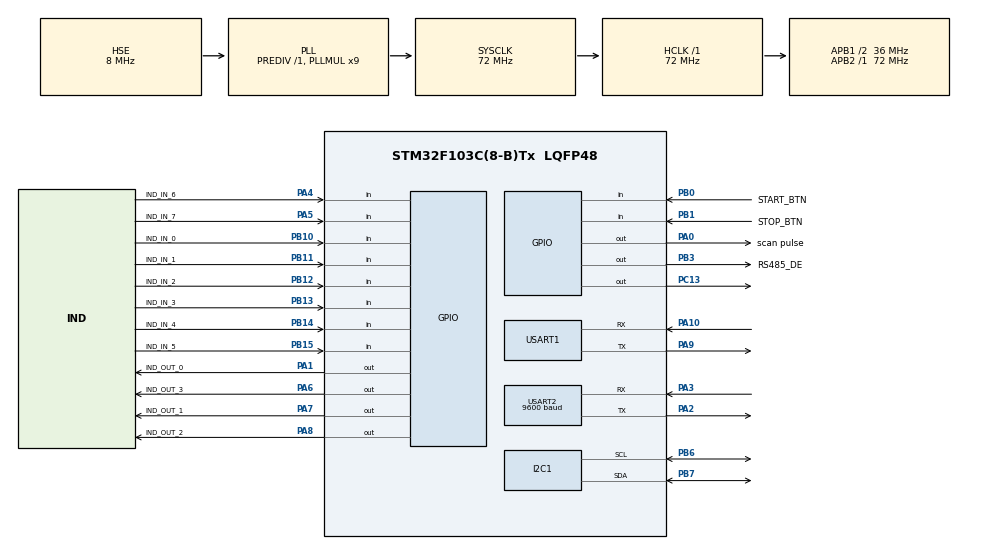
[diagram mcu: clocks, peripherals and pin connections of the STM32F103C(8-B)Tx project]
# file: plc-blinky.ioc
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I2C1.I2C_Mode=I2C_Standard
Mcu.Family=STM32F1
Mcu.Name=STM32F103C(8-B)Tx
Mcu.Package=LQFP48
NVIC.PriorityGroup=NVIC_PRIORITYGROUP_4
NVIC.TIM2_IRQn=true\:0\:0\:false\:false\:true\:true\:true\:true
NVIC.USART1_IRQn=true\:0\:0\:false\:false\:true\:true\:true\:true
NVIC.USART2_IRQn=true\:0\:0\:false\:false\:true\:true\:true\:true
PA0-WKUP.GPIO_Label=scan pulse
PA0-WKUP.Signal=GPIO_Output
PA1.GPIO_Label=IND_OUT_0
PA1.Signal=GPIO_Output
PA10.Mode=Asynchronous
PA10.Signal=USART1_RX
PA13.Mode=Serial_Wire
PA13.Signal=SYS_JTMS-SWDIO
PA14.Mode=Serial_Wire
PA14.Signal=SYS_JTCK-SWCLK
PA2.Mode=Asynchronous
PA2.Signal=USART2_TX
PA3.Mode=Asynchronous
PA3.Signal=USART2_RX
PA4.GPIO_Label=IND_IN_6
PA4.GPIO_PuPd=GPIO_PULLUP
PA4.Signal=GPIO_Input
PA5.GPIO_Label=IND_IN_7
PA5.GPIO_PuPd=GPIO_PULLUP
PA5.Signal=GPIO_Input
PA6.GPIO_Label=IND_OUT_3
PA6.Signal=GPIO_Output
PA7.GPIO_Label=IND_OUT_1
PA7.Signal=GPIO_Output
PA8.GPIO_Label=IND_OUT_2
PA8.Signal=GPIO_Output
PA9.Mode=Asynchronous
PA9.Signal=USART1_TX
PB0.GPIO_Label=START_BTN
PB0.GPIO_PuPd=GPIO_PULLUP
PB0.Signal=GPIO_Input
PB1.GPIO_Label=STOP_BTN
PB1.GPIO_PuPd=GPIO_PULLUP
PB1.Signal=GPIO_Input
PB10.GPIO_Label=IND_IN_0
PB10.GPIO_PuPd=GPIO_PULLUP
PB10.Signal=GPIO_Input
PB11.GPIO_Label=IND_IN_1
PB11.GPIO_PuPd=GPIO_PULLUP
PB11.Signal=GPIO_Input
PB12.GPIO_Label=IND_IN_2
PB12.GPIO_PuPd=GPIO_PULLUP
PB12.Signal=GPIO_Input
PB13.GPIO_Label=IND_IN_3
PB13.GPIO_PuPd=GPIO_PULLUP
PB13.Signal=GPIO_Input
PB14.GPIO_Label=IND_IN_4
PB14.GPIO_PuPd=GPIO_PULLUP
PB14.Signal=GPIO_Input
PB15.GPIO_Label=IND_IN_5
PB15.GPIO_PuPd=GPIO_PULLUP
PB15.Signal=GPIO_Input
PB3.GPIO_Label=RS485_DE
PB3.Signal=GPIO_Output
PB6.Mode=I2C
PB6.Signal=I2C1_SCL
PB7.Mode=I2C
PB7.Signal=I2C1_SDA
PC13-TAMPER-RTC.Signal=GPIO_Output
PD0-OSC_IN.Mode=HSE-External-Oscillator
PD0-OSC_IN.Signal=RCC_OSC_IN
PD1-OSC_OUT.Mode=HSE-External-Oscillator
PD1-OSC_OUT.Signal=RCC_OSC_OUT
ProjectManager.HeapSize=0x200
ProjectManager.StackSize=0x400
ProjectManager.TargetToolchain=STM32CubeIDE
RCC.AHBFreq_Value=72000000
RCC.APB1CLKDivider=RCC_HCLK_DIV2
RCC.APB1Freq_Value=36000000
RCC.APB1TimFreq_Value=72000000
RCC.APB2Freq_Value=72000000
RCC.APB2TimFreq_Value=72000000
RCC.HCLKFreq_Value=72000000
RCC.PLLMUL=RCC_PLL_MUL9
RCC.PLLSourceVirtual=RCC_PLLSOURCE_HSE
RCC.SYSCLKFreq_VALUE=72000000
RCC.SYSCLKSource=RCC_SYSCLKSOURCE_PLLCLK
RCC.USBFreq_Value=72000000
TIM2.Period=100 - 1
TIM2.Prescaler=7200 - 1
USART1.VirtualMode=VM_ASYNC
USART2.BaudRate=9600
USART2.VirtualMode=VM_ASYNC
VP_TIM2_VS_ClockSourceINT.Mode=Internal
board=custom

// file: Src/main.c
/* USER CODE BEGIN Header */
/**
  ******************************************************************************
  * @file           : main.c
  * @brief          : Main program body
  ******************************************************************************
  * @attention
  *
  * Copyright (c) 2026 STMicroelectronics.
  * All rights reserved.
  *
  * This software is licensed under terms that can be found in the LICENSE file
  * in the root directory of this software component.
  * If no LICENSE file comes with this software, it is provided AS-IS.
  *
  ******************************************************************************
  */
/* USER CODE END Header */
#include "main.h"

/* USER CODE BEGIN Includes */
#include "scan_engine.h"
#include "uart_console.h"
#include "oled_display.h"
#include "modbus.h"
/* USER CODE END Includes */

I2C_HandleTypeDef hi2c1;

TIM_HandleTypeDef htim2;

UART_HandleTypeDef huart1;
UART_HandleTypeDef huart2;

void SystemClock_Config(void);
static void MX_GPIO_Init(void);
static void MX_TIM2_Init(void);
static void MX_USART1_UART_Init(void);
static void MX_I2C1_Init(void);
static void MX_USART2_UART_Init(void);

int main(void)
{

  /* MCU Configuration--------------------------------------------------------*/

  /* Reset of all peripherals, Initializes the Flash interface and the Systick. */
  HAL_Init();

  /* Configure the system clock */
  SystemClock_Config();

  /* Initialize all configured peripherals */
  MX_GPIO_Init();
  MX_TIM2_Init();
  MX_USART1_UART_Init();
  MX_I2C1_Init();
  MX_USART2_UART_Init();
  /* USER CODE BEGIN 2 */

  scan_engine_init();
  HAL_TIM_Base_Start_IT(&htim2);
  uart_console_init();
  oled_display_init();
  modbus_init();

  /* USER CODE END 2 */

  /* Infinite loop */
  while (1)
  {

    /* USER CODE BEGIN 3 */
	  uart_console_poll();
	  oled_display_update();
	  modbus_poll();
  }
  /* USER CODE END 3 */
}

void SystemClock_Config(void)
{
  RCC_OscInitTypeDef RCC_OscInitStruct = {0};
  RCC_ClkInitTypeDef RCC_ClkInitStruct = {0};

  /** Initializes the RCC Oscillators according to the specified parameters
  * in the RCC_OscInitTypeDef structure.
  */
  RCC_OscInitStruct.OscillatorType = RCC_OSCILLATORTYPE_HSE;
  RCC_OscInitStruct.HSEState = RCC_HSE_ON;
  RCC_OscInitStruct.HSEPredivValue = RCC_HSE_PREDIV_DIV1;
  RCC_OscInitStruct.HSIState = RCC_HSI_ON;
  RCC_OscInitStruct.PLL.PLLState = RCC_PLL_ON;
  RCC_OscInitStruct.PLL.PLLSource = RCC_PLLSOURCE_HSE;
  RCC_OscInitStruct.PLL.PLLMUL = RCC_PLL_MUL9;
  if (HAL_RCC_OscConfig(&RCC_OscInitStruct) != HAL_OK)
  {
    Error_Handler();
  }

  /** Initializes the CPU, AHB and APB buses clocks
  */
  RCC_ClkInitStruct.ClockType = RCC_CLOCKTYPE_HCLK|RCC_CLOCKTYPE_SYSCLK
                              |RCC_CLOCKTYPE_PCLK1|RCC_CLOCKTYPE_PCLK2;
  RCC_ClkInitStruct.SYSCLKSource = RCC_SYSCLKSOURCE_PLLCLK;
  RCC_ClkInitStruct.AHBCLKDivider = RCC_SYSCLK_DIV1;
  RCC_ClkInitStruct.APB1CLKDivider = RCC_HCLK_DIV2;
  RCC_ClkInitStruct.APB2CLKDivider = RCC_HCLK_DIV1;

  if (HAL_RCC_ClockConfig(&RCC_ClkInitStruct, FLASH_LATENCY_2) != HAL_OK)
  {
    Error_Handler();
  }
}

static void MX_I2C1_Init(void)
{

  hi2c1.Instance = I2C1;
  hi2c1.Init.ClockSpeed = 100000;
  hi2c1.Init.DutyCycle = I2C_DUTYCYCLE_2;
  hi2c1.Init.OwnAddress1 = 0;
  hi2c1.Init.AddressingMode = I2C_ADDRESSINGMODE_7BIT;
  hi2c1.Init.DualAddressMode = I2C_DUALADDRESS_DISABLE;
  hi2c1.Init.OwnAddress2 = 0;
  hi2c1.Init.GeneralCallMode = I2C_GENERALCALL_DISABLE;
  hi2c1.Init.NoStretchMode = I2C_NOSTRETCH_DISABLE;
  if (HAL_I2C_Init(&hi2c1) != HAL_OK)
  {
    Error_Handler();
  }

}

static void MX_TIM2_Init(void)
{

  TIM_ClockConfigTypeDef sClockSourceConfig = {0};
  TIM_MasterConfigTypeDef sMasterConfig = {0};

  htim2.Instance = TIM2;
  htim2.Init.Prescaler = 7200 - 1;
  htim2.Init.CounterMode = TIM_COUNTERMODE_UP;
  htim2.Init.Period = 100 - 1;
  htim2.Init.ClockDivision = TIM_CLOCKDIVISION_DIV1;
  htim2.Init.AutoReloadPreload = TIM_AUTORELOAD_PRELOAD_DISABLE;
  if (HAL_TIM_Base_Init(&htim2) != HAL_OK)
  {
    Error_Handler();
  }
  sClockSourceConfig.ClockSource = TIM_CLOCKSOURCE_INTERNAL;
  if (HAL_TIM_ConfigClockSource(&htim2, &sClockSourceConfig) != HAL_OK)
  {
    Error_Handler();
  }
  sMasterConfig.MasterOutputTrigger = TIM_TRGO_RESET;
  sMasterConfig.MasterSlaveMode = TIM_MASTERSLAVEMODE_DISABLE;
  if (HAL_TIMEx_MasterConfigSynchronization(&htim2, &sMasterConfig) != HAL_OK)
  {
    Error_Handler();
  }

}

static void MX_USART1_UART_Init(void)
{

  huart1.Instance = USART1;
  huart1.Init.BaudRate = 115200;
  huart1.Init.WordLength = UART_WORDLENGTH_8B;
  huart1.Init.StopBits = UART_STOPBITS_1;
  huart1.Init.Parity = UART_PARITY_NONE;
  huart1.Init.Mode = UART_MODE_TX_RX;
  huart1.Init.HwFlowCtl = UART_HWCONTROL_NONE;
  huart1.Init.OverSampling = UART_OVERSAMPLING_16;
  if (HAL_UART_Init(&huart1) != HAL_OK)
  {
    Error_Handler();
  }

}

static void MX_USART2_UART_Init(void)
{

  huart2.Instance = USART2;
  huart2.Init.BaudRate = 9600;
  huart2.Init.WordLength = UART_WORDLENGTH_8B;
  huart2.Init.StopBits = UART_STOPBITS_1;
  huart2.Init.Parity = UART_PARITY_NONE;
  huart2.Init.Mode = UART_MODE_TX_RX;
  huart2.Init.HwFlowCtl = UART_HWCONTROL_NONE;
  huart2.Init.OverSampling = UART_OVERSAMPLING_16;
  if (HAL_UART_Init(&huart2) != HAL_OK)
  {
    Error_Handler();
  }

}

static void MX_GPIO_Init(void)
{
  GPIO_InitTypeDef GPIO_InitStruct = {0};

  /* GPIO Ports Clock Enable */
  __HAL_RCC_GPIOC_CLK_ENABLE();
  __HAL_RCC_GPIOD_CLK_ENABLE();
  __HAL_RCC_GPIOA_CLK_ENABLE();
  __HAL_RCC_GPIOB_CLK_ENABLE();

  /*Configure GPIO pin Output Level */
  HAL_GPIO_WritePin(GPIOC, GPIO_PIN_13, GPIO_PIN_RESET);

  /*Configure GPIO pin Output Level */
  HAL_GPIO_WritePin(GPIOA, scan_pulse_Pin|IND_OUT_0_Pin|IND_OUT_3_Pin|IND_OUT_1_Pin
                          |IND_OUT_2_Pin, GPIO_PIN_RESET);

  /*Configure GPIO pin Output Level */
  HAL_GPIO_WritePin(RS485_DE_GPIO_Port, RS485_DE_Pin, GPIO_PIN_RESET);

  /*Configure GPIO pin : PC13 */
  GPIO_InitStruct.Pin = GPIO_PIN_13;
  GPIO_InitStruct.Mode = GPIO_MODE_OUTPUT_PP;
  GPIO_InitStruct.Pull = GPIO_NOPULL;
  GPIO_InitStruct.Speed = GPIO_SPEED_FREQ_LOW;
  HAL_GPIO_Init(GPIOC, &GPIO_InitStruct);

  /*Configure GPIO pins : scan_pulse_Pin IND_OUT_0_Pin IND_OUT_3_Pin IND_OUT_1_Pin
                           IND_OUT_2_Pin */
  GPIO_InitStruct.Pin = scan_pulse_Pin|IND_OUT_0_Pin|IND_OUT_3_Pin|IND_OUT_1_Pin
                          |IND_OUT_2_Pin;
  GPIO_InitStruct.Mode = GPIO_MODE_OUTPUT_PP;
  GPIO_InitStruct.Pull = GPIO_NOPULL;
  GPIO_InitStruct.Speed = GPIO_SPEED_FREQ_LOW;
  HAL_GPIO_Init(GPIOA, &GPIO_InitStruct);

  /*Configure GPIO pins : IND_IN_6_Pin IND_IN_7_Pin */
  GPIO_InitStruct.Pin = IND_IN_6_Pin|IND_IN_7_Pin;
  GPIO_InitStruct.Mode = GPIO_MODE_INPUT;
  GPIO_InitStruct.Pull = GPIO_PULLUP;
  HAL_GPIO_Init(GPIOA, &GPIO_InitStruct);

  /*Configure GPIO pins : START_BTN_Pin STOP_BTN_Pin IND_IN_0_Pin IND_IN_1_Pin
                           IND_IN_2_Pin IND_IN_3_Pin IND_IN_4_Pin IND_IN_5_Pin */
  GPIO_InitStruct.Pin = START_BTN_Pin|STOP_BTN_Pin|IND_IN_0_Pin|IND_IN_1_Pin
                          |IND_IN_2_Pin|IND_IN_3_Pin|IND_IN_4_Pin|IND_IN_5_Pin;
  GPIO_InitStruct.Mode = GPIO_MODE_INPUT;
  GPIO_InitStruct.Pull = GPIO_PULLUP;
  HAL_GPIO_Init(GPIOB, &GPIO_InitStruct);

  /*Configure GPIO pin : RS485_DE_Pin */
  GPIO_InitStruct.Pin = RS485_DE_Pin;
  GPIO_InitStruct.Mode = GPIO_MODE_OUTPUT_PP;
  GPIO_InitStruct.Pull = GPIO_NOPULL;
  GPIO_InitStruct.Speed = GPIO_SPEED_FREQ_LOW;
  HAL_GPIO_Init(RS485_DE_GPIO_Port, &GPIO_InitStruct);

}

/* USER CODE BEGIN 4 */
void HAL_TIM_PeriodElapsedCallback(TIM_HandleTypeDef *htim) {
    if (htim->Instance == TIM2) {
        scan_cycle_run();
    }
}
void HAL_UART_RxCpltCallback(UART_HandleTypeDef *huart) {
    if (huart->Instance == USART1) {
        void uart_console_on_rx(void);
        uart_console_on_rx();
    }
    if (huart->Instance == USART2) {
        modbus_rx_byte_from_isr();
    }
}
/* USER CODE END 4 */

void Error_Handler(void)
{
  __disable_irq();
  while (1)
  {
  }
}
